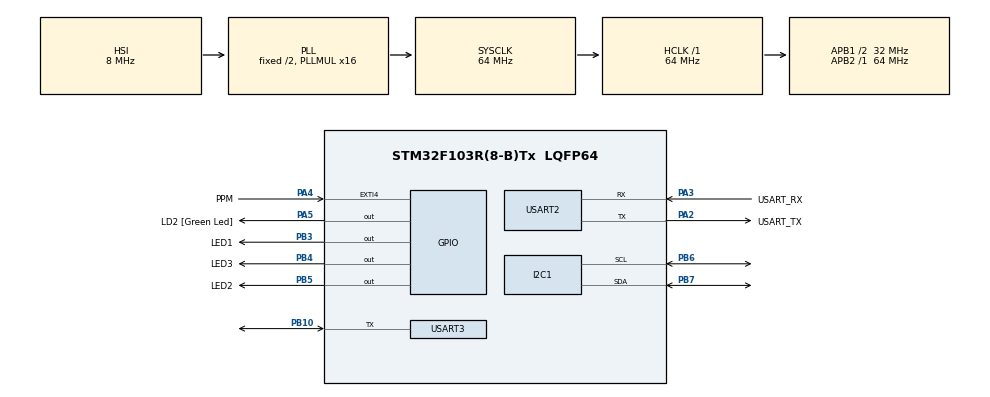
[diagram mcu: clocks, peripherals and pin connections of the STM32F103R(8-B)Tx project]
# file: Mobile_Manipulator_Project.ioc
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I2C1.DutyCycle=I2C_DUTYCYCLE_2
I2C1.I2C_Mode=I2C_Fast
Mcu.Family=STM32F1
Mcu.Name=STM32F103R(8-B)Tx
Mcu.Package=LQFP64
NVIC.EXTI4_IRQn=true\:0\:0\:false\:false\:true\:true\:true\:true
NVIC.I2C1_ER_IRQn=true\:0\:0\:false\:false\:true\:true\:true\:true
NVIC.PriorityGroup=NVIC_PRIORITYGROUP_4
PA13.GPIO_Label=TMS
PA13.Mode=Serial_Wire
PA13.Signal=SYS_JTMS-SWDIO
PA14.GPIO_Label=TCK
PA14.Mode=Serial_Wire
PA14.Signal=SYS_JTCK-SWCLK
PA2.GPIO_Label=USART_TX
PA2.GPIO_Mode=GPIO_MODE_AF_PP
PA2.GPIO_PuPd=GPIO_NOPULL
PA2.GPIO_Speed=GPIO_SPEED_FREQ_LOW
PA2.Mode=Asynchronous
PA2.Signal=USART2_TX
PA3.GPIO_Label=USART_RX
PA3.GPIO_Mode=GPIO_MODE_AF_PP
PA3.GPIO_PuPd=GPIO_NOPULL
PA3.GPIO_Speed=GPIO_SPEED_FREQ_LOW
PA3.Mode=Asynchronous
PA3.Signal=USART2_RX
PA4.GPIO_Label=PPM
PA4.GPIO_ModeDefaultEXTI=GPIO_MODE_IT_RISING
PA4.GPIO_PuPd=GPIO_NOPULL
PA4.Signal=GPXTI4
PA5.GPIO_Label=LD2 [Green Led]
PA5.GPIO_ModeDefaultOutputPP=GPIO_MODE_OUTPUT_PP
PA5.GPIO_PuPd=GPIO_NOPULL
PA5.GPIO_Speed=GPIO_SPEED_FREQ_LOW
PA5.Signal=GPIO_Output
PB10.Mode=Half_duplex(single_wire_mode)
PB10.Signal=USART3_TX
PB3.GPIO_Label=LED1
PB3.Signal=GPIO_Output
PB4.GPIO_Label=LED3
PB4.Signal=GPIO_Output
PB5.GPIO_Label=LED2
PB5.Signal=GPIO_Output
PB6.Mode=I2C
PB6.Signal=I2C1_SCL
PB7.Mode=I2C
PB7.Signal=I2C1_SDA
ProjectManager.HeapSize=0x200
ProjectManager.StackSize=0x400
ProjectManager.TargetToolchain=STM32CubeIDE
RCC.AHBFreq_Value=64000000
RCC.APB1CLKDivider=RCC_HCLK_DIV2
RCC.APB1Freq_Value=32000000
RCC.APB1TimFreq_Value=64000000
RCC.APB2Freq_Value=64000000
RCC.APB2TimFreq_Value=64000000
RCC.HCLKFreq_Value=64000000
RCC.PLLMUL=RCC_PLL_MUL16
RCC.RTCClockSelection=RCC_RTCCLKSOURCE_LSE
RCC.SYSCLKFreq_VALUE=64000000
RCC.SYSCLKSource=RCC_SYSCLKSOURCE_PLLCLK
RCC.USBFreq_Value=64000000
TIM2.Prescaler=64-1
USART2.VirtualMode=VM_ASYNC
USART3.BaudRate=1000000
USART3.VirtualMode=VM_ASYNC
USART3.WordLength=WORDLENGTH_8B
VP_TIM2_VS_ClockSourceINT.Mode=Internal
board=NUCLEO-F103RB

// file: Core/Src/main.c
/* USER CODE BEGIN Header */
/**
  ******************************************************************************
  * @file           : main.c
  * @brief          : Main program body
  ******************************************************************************
  * @attention
  *
  * Copyright (c) 2024 STMicroelectronics.
  * All rights reserved.
  *
  * This software is licensed under terms that can be found in the LICENSE file
  * in the root directory of this software component.
  * If no LICENSE file comes with this software, it is provided AS-IS.
  *
  ******************************************************************************
  */
/* USER CODE END Header */
#include "main.h"
#include "i2c.h"
#include "tim.h"
#include "usart.h"
#include "gpio.h"

/* USER CODE BEGIN Includes */

#include "JETANK_motion.h"
#include "battery_state.h"
#include "manipulator.h"
#include <stdbool.h>

/* USER CODE END Includes */

/* USER CODE BEGIN PD */

////////// MODE SETTING /////////
#define RC_TANK_CONTROL_ON 			1
#define MANIPULATOR_CONTROL_ON 		1
#define BATTERY_STATE_DISPLAY_ON 	1

/////////////////////////////////

/* USER CODE END PD */

/* USER CODE BEGIN PM */

#define TIMER_MAX 65535
#define RTSR_OFFSET 0x08
#define FTSR_OFFSET 0x0C

typedef struct channel{
    int ch1;
    int ch2;
    int ch3;
    int ch4;
    int ch5;
    int ch6;
    int ch7;
    int ch8;
    int dummy;
}_channel;

/* USER CODE END PM */

/* USER CODE BEGIN PV */
// Create the handle for the driver.

/* USER CODE END PV */

void SystemClock_Config(void);
/* USER CODE BEGIN PFP */
int _read(int file, char *ptr, int len);
int _write(int file, char *ptr, int len);

/* USER CODE END PFP */

/* USER CODE BEGIN 0 */

_channel channel_data = {0, };
uint32_t t1 = 0;
uint32_t t2 = 0;
uint32_t time_interval = 0;
uint32_t rising_cnt = 0;
uint32_t falling_cnt = 0;

void HAL_GPIO_EXTI_Callback(uint16_t GPIO_Pin){

    if (GPIO_Pin == PPM_Pin){
        // 라이징에서 콜백이 발동하도록 한 경우
        if(( EXTI->RTSR >> 4) & 0x01){
            // 현재 타이머의 카운트 값 저장
            t1= TIM2->CNT;

            rising_cnt++;
            // 폴링 시에 콜백이 발동하도록 바꿈 rtsr을 0으로 ftsr을 1로 설정
            EXTI->RTSR &= ~((uint32_t)0x01 << 4);
            EXTI->FTSR |= ((uint32_t)0x01 << 4);
        }
        else if(( EXTI->FTSR >> 4) & 0x01){
            t2 = TIM2->CNT;

            if( t1 > t2) time_interval = TIMER_MAX - t1 + t2;
            else time_interval = t2-t1;

            falling_cnt++;
            EXTI->RTSR |= ((uint32_t)0x01 << 4);
            EXTI->FTSR &= ~((uint32_t)0x01 << 4);
        }

        // 대략 4000 이상이면 sync임
        if(time_interval > 4000){
            rising_cnt = 9;
            falling_cnt = 9;
        }

        switch(rising_cnt + falling_cnt){
        case 2:
            channel_data.ch1 = time_interval;
            break;
        case 4:
            channel_data.ch2 = time_interval;
            break;
        case 6:
            channel_data.ch3 = time_interval;
            break;
        case 8:
            channel_data.ch4 = time_interval;
            break;
        case 10:
            channel_data.ch5 = time_interval;
            break;
        case 12:
            channel_data.ch6 = time_interval;
            break;
        case 14:
            channel_data.ch7 = time_interval;
            break;
        case 16:
            channel_data.ch8 = time_interval;
            break;
        case 18:
            channel_data.dummy = time_interval;
            rising_cnt = 0;
            falling_cnt = 0;
            break;
        default:
            //Nothing to do
            break;
        }
    }
}

/* USER CODE END 0 */

int main(void)
{

  /* MCU Configuration--------------------------------------------------------*/

  /* Reset of all peripherals, Initializes the Flash interface and the Systick. */
  HAL_Init();

  /* Configure the system clock */
  SystemClock_Config();

  /* Initialize all configured peripherals */
  MX_GPIO_Init();
  MX_USART2_UART_Init();
  MX_I2C1_Init();
  MX_TIM2_Init();
  MX_USART3_UART_Init();
  /* USER CODE BEGIN 2 */

  ina219_handle_t ina219_handler = {
		  .hi2c = &hi2c1,
		  .expected_max_current = 3.2,
		  .shunt_resistor = 0.1
  };

  LED_handler_t LED_handler ={
		  .LED1_GPIO = LED1_GPIO_Port,
		  .LED2_GPIO = LED2_GPIO_Port,
		  .LED3_GPIO = LED3_GPIO_Port,
		  .LED1_pin = LED1_Pin,
		  .LED2_pin = LED2_Pin,
		  .LED3_pin = LED3_Pin
  };

  if(INA219_init(&ina219_handler)){
	  printf("ina219 init success\r\n");
  }
  else{
	  printf("ina219 init error\r\n");
  }

  HAL_TIM_Base_Start(&htim2);
  HAL_Delay(40);

  if (pca9685_init(&hi2c1)){
	  printf("pca9685 init success\r\n");
  }
  else{
	  printf("pca9685 init error\r\n");
  }

  manipulator_position_init(&huart3);
  HAL_Delay(1000);
  /* USER CODE END 2 */

  /* Infinite loop */
  while (1)
  {

    /* USER CODE BEGIN 3 */
#if RC_TANK_CONTROL_ON
	  channel_to_motion(&hi2c1, channel_data.ch1, channel_data.ch2);
#endif

#if MANIPULATOR_CONTROL_ON

	  channel_to_manipulator(&huart3, channel_data.ch3, channel_data.ch4, channel_data.ch5);

	  HAL_Delay(100);
#endif

#if BATTERY_STATE_DISPLAY_ON
	  double vol = get_bus_voltage(&ina219_handler);
	  charge_display(vol, &LED_handler);
#endif

  }
  /* USER CODE END 3 */
}

void SystemClock_Config(void)
{
  RCC_OscInitTypeDef RCC_OscInitStruct = {0};
  RCC_ClkInitTypeDef RCC_ClkInitStruct = {0};

  /** Initializes the RCC Oscillators according to the specified parameters
  * in the RCC_OscInitTypeDef structure.
  */
  RCC_OscInitStruct.OscillatorType = RCC_OSCILLATORTYPE_HSI;
  RCC_OscInitStruct.HSIState = RCC_HSI_ON;
  RCC_OscInitStruct.HSICalibrationValue = RCC_HSICALIBRATION_DEFAULT;
  RCC_OscInitStruct.PLL.PLLState = RCC_PLL_ON;
  RCC_OscInitStruct.PLL.PLLSource = RCC_PLLSOURCE_HSI_DIV2;
  RCC_OscInitStruct.PLL.PLLMUL = RCC_PLL_MUL16;
  if (HAL_RCC_OscConfig(&RCC_OscInitStruct) != HAL_OK)
  {
    Error_Handler();
  }

  /** Initializes the CPU, AHB and APB buses clocks
  */
  RCC_ClkInitStruct.ClockType = RCC_CLOCKTYPE_HCLK|RCC_CLOCKTYPE_SYSCLK
                              |RCC_CLOCKTYPE_PCLK1|RCC_CLOCKTYPE_PCLK2;
  RCC_ClkInitStruct.SYSCLKSource = RCC_SYSCLKSOURCE_PLLCLK;
  RCC_ClkInitStruct.AHBCLKDivider = RCC_SYSCLK_DIV1;
  RCC_ClkInitStruct.APB1CLKDivider = RCC_HCLK_DIV2;
  RCC_ClkInitStruct.APB2CLKDivider = RCC_HCLK_DIV1;

  if (HAL_RCC_ClockConfig(&RCC_ClkInitStruct, FLASH_LATENCY_2) != HAL_OK)
  {
    Error_Handler();
  }
}

/* USER CODE BEGIN 4 */
int _read(int file, char *ptr, int len){
	HAL_UART_Receive(&huart2, (uint8_t*)ptr, 1, 0xFFFF);
	HAL_UART_Transmit(&huart2, (uint8_t*)ptr, 1, 100);
	return 1;
}

int _write(int file, char *ptr, int len){
	HAL_UART_Transmit(&huart2, (uint8_t*)ptr, len, 100);
	return len;
}

/* USER CODE END 4 */

void Error_Handler(void)
{
  __disable_irq();
  while (1)
  {
  }
}
